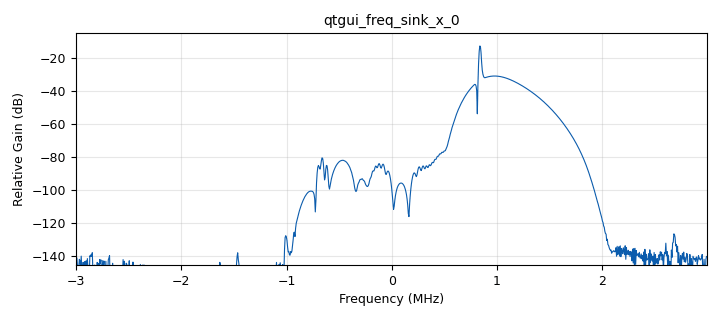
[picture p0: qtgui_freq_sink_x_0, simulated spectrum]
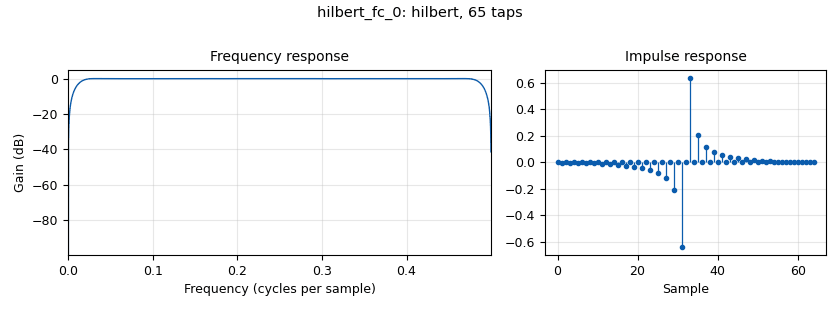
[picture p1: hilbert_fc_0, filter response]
options:
  parameters:
    generate_options: qt_gui
    id: top_block
    output_language: python
  states: {}

blocks:
- name: samp_rate
  id: variable
  parameters:
    value: '6000000'
  states: {}
- name: analog_sig_source_x_0_0
  id: analog_sig_source_x
  parameters:
    amp: '1'
    freq: '250'
    offset: '0'
    phase: '0'
    samp_rate: samp_rate
    type: float
    waveform: analog.GR_TRI_WAVE
  states: {}
- name: analog_sig_source_x_0_0_2
  id: analog_sig_source_x
  parameters:
    amp: '1'
    freq: 3.14009e9
    offset: '0'
    phase: '0'
    samp_rate: samp_rate
    type: complex
    waveform: analog.GR_COS_WAVE
  states: {}
- name: analog_sig_source_x_0_0_2_0
  id: analog_sig_source_x
  parameters:
    amp: '1'
    freq: 3.14e9
    offset: '0'
    phase: '0'
    samp_rate: samp_rate
    type: complex
    waveform: analog.GR_COS_WAVE
  states: {}
- name: analog_sig_source_x_0_0_2_1
  id: analog_sig_source_x
  parameters:
    amp: '1'
    freq: 3.14e9
    offset: '0'
    phase: '0'
    samp_rate: samp_rate
    type: complex
    waveform: analog.GR_SIN_WAVE
  states: {}
- name: blocks_delay_0
  id: blocks_delay
  parameters:
    delay: '600'
    type: complex
  states: {}
- name: blocks_multiply_xx_0
  id: blocks_multiply_xx
  parameters:
    type: complex
  states: {}
- name: blocks_multiply_xx_0_0
  id: blocks_multiply_xx
  parameters:
    type: complex
  states: {}
- name: blocks_multiply_xx_0_1
  id: blocks_multiply_xx
  parameters:
    type: complex
  states: {}
- name: blocks_multiply_xx_0_1_0
  id: blocks_multiply_xx
  parameters:
    type: complex
  states: {}
- name: blocks_throttle_0
  id: blocks_throttle
  parameters:
    samples_per_second: samp_rate
    type: complex
  states: {}
- name: blocks_vco_f_0
  id: blocks_vco_f
  parameters:
    amplitude: '1'
    samp_rate: samp_rate
    sensitivity: 94.2e6
  states: {}
- name: hilbert_fc_0
  id: hilbert_fc
  parameters:
    num_taps: '65'
  states: {}
- name: low_pass_filter_0
  id: low_pass_filter
  parameters:
    beta: '6.76'
    cutoff_freq: 3e6
    decim: '1'
    gain: '1'
    samp_rate: samp_rate
    type: fir_filter_ccf
    width: 50e3
    win: window.WIN_KAISER
  states: {}
- name: qtgui_freq_sink_x_0
  id: qtgui_freq_sink_x
  parameters:
    autoscale: 'True'
    bw: samp_rate
    fc: '0'
    fftsize: '1024'
    type: complex
    update_time: '0.01'
  states: {}

connections:
- [analog_sig_source_x_0_0, '0', blocks_vco_f_0, '0']
- [analog_sig_source_x_0_0_2, '0', blocks_multiply_xx_0, '1']
- [analog_sig_source_x_0_0_2_0, '0', blocks_multiply_xx_0_0, '0']
- [analog_sig_source_x_0_0_2_1, '0', blocks_multiply_xx_0_1, '0']
- [blocks_delay_0, '0', blocks_multiply_xx_0_1, '1']
- [blocks_multiply_xx_0, '0', blocks_delay_0, '0']
- [blocks_multiply_xx_0_0, '0', blocks_multiply_xx_0_1_0, '0']
- [blocks_multiply_xx_0_1, '0', blocks_multiply_xx_0_1_0, '1']
- [blocks_multiply_xx_0_1_0, '0', low_pass_filter_0, '0']
- [blocks_throttle_0, '0', qtgui_freq_sink_x_0, '0']
- [blocks_vco_f_0, '0', hilbert_fc_0, '0']
- [hilbert_fc_0, '0', blocks_multiply_xx_0, '0']
- [hilbert_fc_0, '0', blocks_multiply_xx_0_0, '1']
- [low_pass_filter_0, '0', blocks_throttle_0, '0']

metadata:
  file_format: 1
  grc_version: 3.9.8.0
